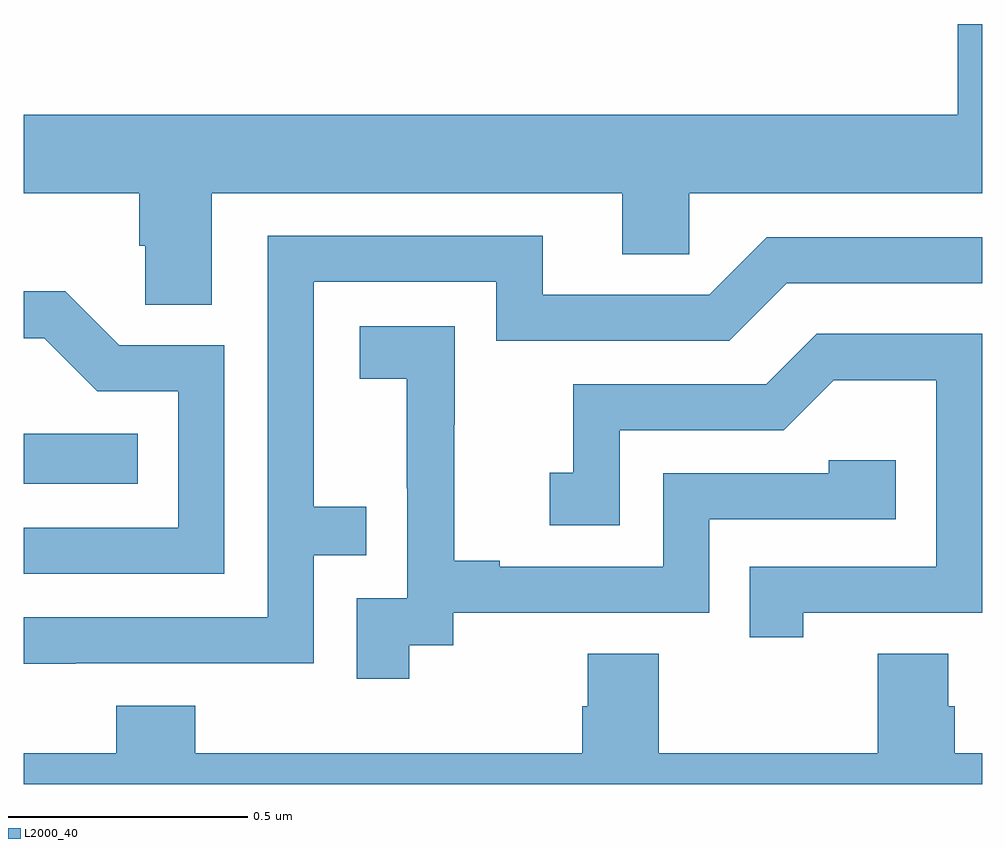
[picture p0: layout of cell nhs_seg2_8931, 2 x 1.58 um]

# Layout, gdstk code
import gdstk
lib = gdstk.Library(unit=1e-6, precision=1e-09)
def R(c, l, rs):  # rectangles x0, y0, x1, y1
    for r in rs: c.add(gdstk.rectangle(r[:2], r[2:], *l))
def P(c, l, *ps):  # polygons
    for p in ps: c.add(gdstk.Polygon(p, *l))
L2000_40 = (2000, 40)

nhs_seg2_8931 = lib.new_cell('nhs_seg2_8931')
R(nhs_seg2_8931, L2000_40, [(223,584.426,223.238,584.53)])
P(nhs_seg2_8931, L2000_40, [(223.393,585.032),(224.249,585.032),(224.249,584.905),(224.388,584.905),(224.388,585.032),(225,585.032),(225,585.385),(224.948,585.385),(224.948,585.196),(223,585.196),(223,585.032),(223.241,585.032),(223.241,584.923),(223.254,584.923),(223.254,584.8),(223.393,584.8)],
  [(223.109,584.052),(223.605,584.052),(223.605,584.277),(223.715,584.277),(223.715,584.378),(223.605,584.378),(223.605,584.847),(223.986,584.847),(223.986,584.724),(224.472,584.724),(224.592,584.844),(225,584.844),(225,584.94),(224.55,584.94),(224.43,584.82),(224.083,584.82),(224.083,584.943),(223.509,584.943),(223.509,584.148),(223,584.148),(223,584.051),(223.109,584.051)],
  [(223.419,584.715),(223.2,584.715),(223.087,584.828),(223,584.828),(223,584.73),(223.043,584.73),(223.154,584.619),(223.323,584.619),(223.323,584.334),(223,584.334),(223,584.238),(223.419,584.238)],
  [(223.804,584.089),(223.896,584.089),(223.896,584.157),(224.43,584.157),(224.43,584.352),(224.819,584.352),(224.819,584.475),(224.679,584.475),(224.679,584.448),(224.334,584.448),(224.334,584.253),(223.993,584.253),(223.993,584.266),(223.898,584.266),(223.898,584.549),(223.899,584.549),(223.899,584.755),(223.701,584.755),(223.701,584.645),(223.799,584.645),(223.799,584.417),(223.8,584.417),(223.8,584.187),(223.695,584.187),(223.695,584.019),(223.804,584.019)],
  [(224.626,584.157),(225,584.157),(225,584.739),(224.654,584.739),(224.549,584.634),(224.146,584.634),(224.146,584.449),(224.097,584.449),(224.097,584.34),(224.244,584.34),(224.244,584.538),(224.586,584.538),(224.69,584.642),(224.904,584.642),(224.904,584.253),(224.515,584.253),(224.515,584.106),(224.626,584.106)],
  [(225,583.864),(224.942,583.864),(224.942,583.962),(224.929,583.962),(224.929,584.072),(224.782,584.072),(224.782,583.864),(224.325,583.864),(224.325,584.072),(224.177,584.072),(224.177,583.962),(224.165,583.962),(224.165,583.864),(223.358,583.864),(223.358,583.963),(223.193,583.963),(223.193,583.864),(223,583.864),(223,583.8),(225,583.8)])

lib.write_gds('nhs_seg2_8931.gds')
